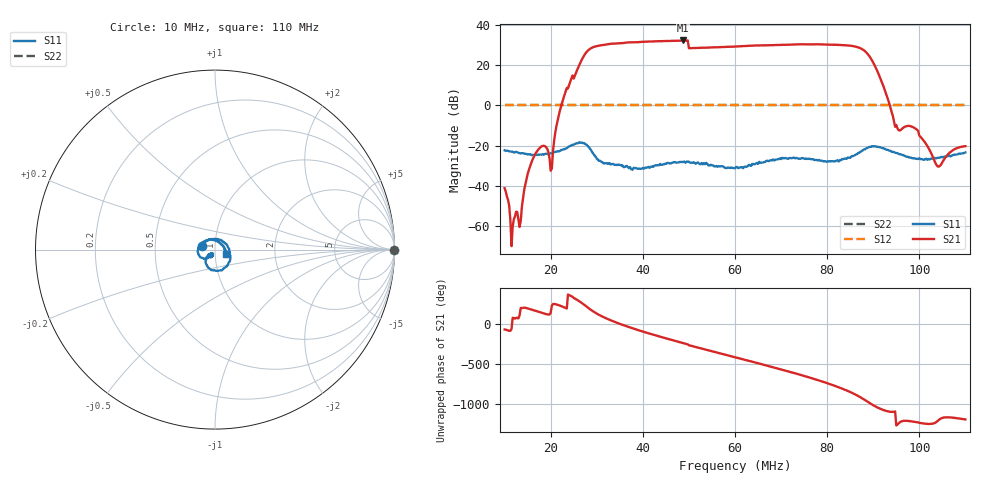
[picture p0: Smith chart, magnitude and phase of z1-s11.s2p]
! Anritsu VNA Master:  Model: MS2034B/10/19/501
! SN:  1337062
! /bd0/ovro-jan-2016/z1-s11.s2p
! Existing Calibration Information:
! TYPE:  Current Settings,  Active Cal Settings
! TIME:  01/08/2016 02:13:21 PM,  01/08/2016 02:08:01 PM
! INTERNAL TEMP:  46.5 C,  46.8 C
! # POINTS:  401,  401
! START FREQ:  10.000 MHz,  10.000 MHz
! STOP FREQ:  110.000 MHz,  110.000 MHz
! SOURCE POWER:  Low,  Low
! IFBW:  100 Hz,  100 Hz
! AVG FACTOR:  1 ,  1
! REF PLANE 1:  0 mm,  0 mm
! REF PLANE 2:  0 mm,  0 mm
! CAL TYPE:  Full S11,  Full S11
! CAL METHOD:  SOLT,  SOLT
! CAL LINE TYPE:  Coax,  Coax
! DUT PORT 1:  K-Conn(M),  K-Conn(M)
! DUT PORT 2:  N-Conn(M),  N-Conn(M)
! CAL STATUS:  OK: Accuracy High,  --
# GHZ S DB R 50.0
! FREQ.GHZ  S11DB  S11A  S21DB  S21A  S12DB  S12A  S22DB  S22A
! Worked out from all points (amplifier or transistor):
!   401 points, 10 MHz to 110 MHz, reference 50 ohm
!   highest |S21| = 32.1 dB at 48.75 MHz (marker M1)
!   |S21| within 3 dB of that: 60.3 MHz to 86.06 MHz (25.76 MHz wide, 35.2 % of centre)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
!   unconditionally stable (mu >= 1): nowhere
!   at 26.5 MHz: K = 5.75, MSG = 10.7 dB, |S12| = 0.0 dB
!   at 60 MHz: K = 14.21, MSG = 14.5 dB, |S12| = 0.0 dB
!   at 110 MHz: K = 0.05, MSG = -10.1 dB, |S12| = 0.0 dB
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0.01  -22.25 167.0  -41.03 -66.0  0.00 0.0  0.00 0.0
0.02425  -20.11 -29.4  11.79 -2.8  0.00 0.0  0.00 0.0
0.02675  -18.48 -84.8  22.58 -94.8  0.00 0.0  0.00 0.0
0.029  -23.13 -135.0  28.56 168.6  0.00 0.0  0.00 0.0
0.0315  -28.82 -132.4  29.93 87.8  0.00 0.0  0.00 0.0
0.03575  -30.52 -133.8  30.87 -11.2  0.00 0.0  0.00 0.0
0.03975  -31.33 -120.1  31.40 -87.6  0.00 0.0  0.00 0.0
0.0435  -29.69 -113.1  31.79 -151.8  0.00 0.0  0.00 0.0
0.046  -28.82 -117.8  31.92 167.6  0.00 0.0  0.00 0.0
0.04875  -28.08 -125.8  32.12 123.9  0.00 0.0  0.00 0.0
0.0545  -29.75 -133.5  28.61 29.1  0.00 0.0  0.00 0.0
0.06  -31.15 -125.5  29.08 -52.9  0.00 0.0  0.00 0.0
0.064  -29.10 -116.3  29.60 -112.2  0.00 0.0  0.00 0.0
0.06875  -26.99 -118.3  29.84 175.2  0.00 0.0  0.00 0.0
0.07325  -26.11 -129.1  30.14 103.5  0.00 0.0  0.00 0.0
0.07675  -26.66 -137.0  30.16 43.8  0.00 0.0  0.00 0.0
0.07975  -27.75 -138.5  30.12 -11.2  0.00 0.0  0.00 0.0
0.083  -27.16 -132.0  29.84 -78.9  0.00 0.0  0.00 0.0
0.0865  -24.14 -133.4  28.85 -169.4  0.00 0.0  0.00 0.0
0.08875  -21.06 -149.6  25.54 112.7  0.00 0.0  0.00 0.0
0.0935  -22.43 143.1  0.81 -12.4  0.00 0.0  0.00 0.0
0.11  -23.36 -20.5  -20.23 -109.8  0.00 0.0  0.00 0.0
